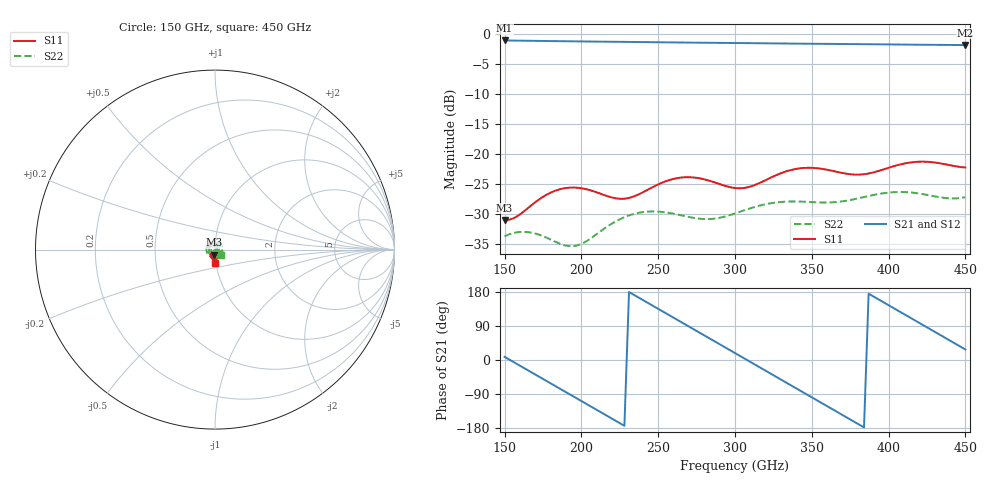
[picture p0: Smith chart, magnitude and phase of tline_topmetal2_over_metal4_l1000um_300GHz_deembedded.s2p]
! Created with skrf 2.0.1 (http://scikit-rf.org).
# GHz S DB R 50.0
!freq dBS11 angS11 dBS21 angS21 dBS12 angS12 dBS22 angS22
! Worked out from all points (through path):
!   101 points, 150 GHz to 450 GHz, reference 50 ohm
!   highest |S21| = -1.07 dB at 150 GHz (marker M1); lowest = -1.8 dB at 450 GHz (marker M2)
!   group delay of S21, straight-line fit = 6.49 ps
!   lowest |S11| = -31.0 dB at 150 GHz (marker M3), VSWR 1.06, Z = 49.6 - j2.79 ohm
!   |S11| at or under -10 dB: start of sweep to end of sweep
!   |S22| runs from -35.4 to -26.3 dB; largest |S21 - S12| = 9.6e-14
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150  -30.97 -96.0  -1.07 8.3  -1.07 8.3  -33.72 -81.6
165  -29.05 -79.0  -1.12 -26.7  -1.12 -26.7  -33.00 -132.3
180  -26.42 -83.0  -1.17 -61.7  -1.17 -61.7  -34.25 165.7
201  -25.74 -98.3  -1.24 -110.7  -1.24 -110.7  -34.86 48.9
216  -26.94 -100.9  -1.28 -145.6  -1.28 -145.6  -32.23 -28.1
228  -27.45 -92.9  -1.31 -173.7  -1.31 -173.7  -30.52 -80.0
240  -26.38 -85.0  -1.34 158.3  -1.34 158.3  -29.68 -128.9
252  -24.83 -85.5  -1.38 130.3  -1.38 130.3  -29.63 -178.7
264  -23.95 -91.6  -1.41 102.3  -1.41 102.3  -30.16 128.1
276  -24.00 -98.4  -1.44 74.3  -1.44 74.3  -30.75 69.6
300  -25.67 -95.8  -1.50 18.3  -1.50 18.3  -29.90 -53.9
321  -24.21 -83.1  -1.55 -30.8  -1.55 -30.8  -28.31 -151.2
336  -22.69 -86.3  -1.59 -65.8  -1.59 -65.8  -27.91 142.2
351  -22.31 -93.5  -1.63 -100.8  -1.63 -100.8  -28.02 73.2
363  -22.78 -96.6  -1.65 -128.9  -1.65 -128.9  -28.05 15.1
378  -23.42 -93.0  -1.68 -163.9  -1.68 -163.9  -27.51 -58.4
390  -23.07 -87.3  -1.71 168.0  -1.71 168.0  -26.83 -114.5
402  -22.13 -85.5  -1.74 139.9  -1.74 139.9  -26.38 -168.0
414  -21.41 -88.3  -1.77 111.9  -1.77 111.9  -26.39 139.0
426  -21.30 -92.4  -1.79 83.9  -1.79 83.9  -26.85 83.9
438  -21.76 -94.0  -1.82 55.8  -1.82 55.8  -27.36 24.2
450  -22.24 -90.7  -1.84 27.7  -1.84 27.7  -27.18 -38.9
